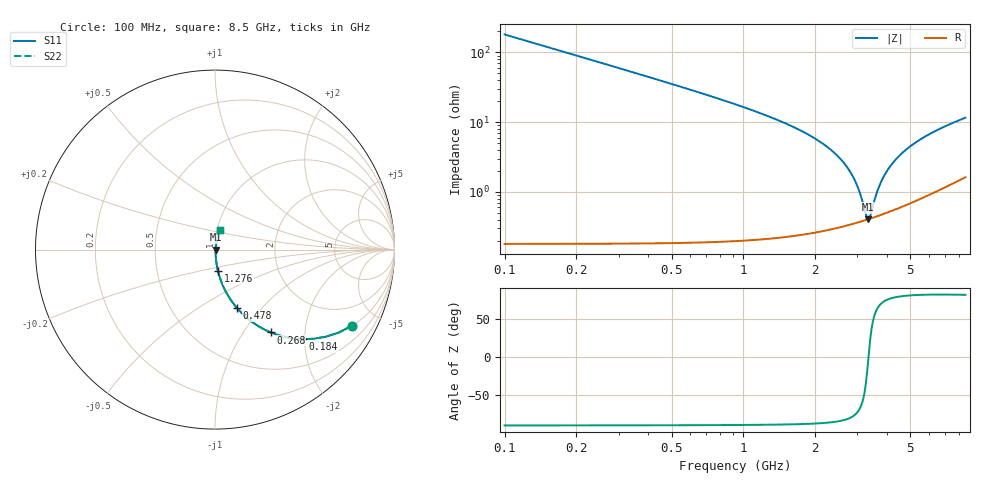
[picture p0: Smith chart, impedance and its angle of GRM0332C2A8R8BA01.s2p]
!Murata Part Number: GRM0332C2A8R8BA01
!These Parameters are Measured in Series Mode Connection
!Data Generated on Mar 30, 2021
!  o--ll--o
!Port1  Port2
!  o------o
!Operation Temp=25[degC], DC Bias Voltage=0[V]
!Freq. Start=100[MHz] Stop=9[GHz] 401[Steps]
# Hz S RI R 50
!Freq.(Hz) S11(Real) S11(Imag) S21(Real) S21(Imag) S12(Real) S12(Imag) S22(Real) S22(Imag)
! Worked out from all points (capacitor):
!   401 points, 100 MHz to 8.5 GHz, reference 50 ohm
!   read as one part in series: C = 8.8 pF near 142 MHz
!   lowest |Z| = 407 mohm at 3.334 GHz (marker M1)
!   series resonance near 3.339 GHz, so ESL is about 260 pH
!   S11 on the Smith chart (normalised r, x): 100 MHz: 1.00, -3.61; 184 MHz: 1.00, -1.96; 268 MHz: 1.00, -1.34; 478 MHz: 1.00, -0.74; 1.276 GHz: 1.00, -0.24; 8.5 GHz: 1.03, +0.23
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1e8  0.7653 -0.4233  0.2347 0.4233  0.2347 0.4233  0.7653 -0.4233
1.84e8  0.4899 -0.499  0.5101 0.499  0.5101 0.499  0.4899 -0.499
2.68e8  0.3106 -0.4614  0.6894 0.4614  0.6894 0.4614  0.3106 -0.4614
3.52e8  0.206 -0.4027  0.794 0.4027  0.794 0.4027  0.206 -0.4027
4.78e8  0.122 -0.3248  0.878 0.3248  0.878 0.3248  0.122 -0.3248
8.14e8  0.0435 -0.1995  0.9565 0.1995  0.9565 0.1995  0.0435 -0.1995
1.276e9  0.0165 -0.1187  0.9835 0.1187  0.9835 0.1187  0.0165 -0.1187
1.507e9  0.0112 -0.0942  0.9888 0.0942  0.9888 0.0942  0.0112 -0.0942
2.41e9  0.00426 -0.0356  0.9957 0.0356  0.9957 0.0356  0.00426 -0.0356
2.914e9  0.00374 -0.0147  0.9963 0.0147  0.9963 0.0147  0.00374 -0.0147
3.082e9  0.0038 -0.00861  0.9962 0.00861  0.9962 0.00861  0.0038 -0.00861
3.271e9  0.00398 -0.00221  0.996 0.00221  0.996 0.00221  0.00398 -0.00221
3.334e9  0.00405 -0.000165  0.9959 0.000165  0.9959 0.000165  0.00405 -0.000165
3.397e9  0.00414 0.00184  0.9959 -0.00184  0.9959 -0.00184  0.00414 0.00184
3.607e9  0.00451 0.00827  0.9955 -0.00827  0.9955 -0.00827  0.00451 0.00827
3.775e9  0.00486 0.0132  0.9951 -0.0132  0.9951 -0.0132  0.00486 0.0132
4.006e9  0.00543 0.0196  0.9946 -0.0196  0.9946 -0.0196  0.00543 0.0196
4.3e9  0.00629 0.0272  0.9937 -0.0272  0.9937 -0.0272  0.00629 0.0272
4.888e9  0.00835 0.0414  0.9917 -0.0414  0.9917 -0.0414  0.00835 0.0414
5.707e9  0.0119 0.0592  0.9881 -0.0592  0.9881 -0.0592  0.0119 0.0592
7.114e9  0.0194 0.0862  0.9806 -0.0862  0.9806 -0.0862  0.0194 0.0862
8.5e9  0.0284 0.1097  0.9716 -0.1097  0.9716 -0.1097  0.0284 0.1097
